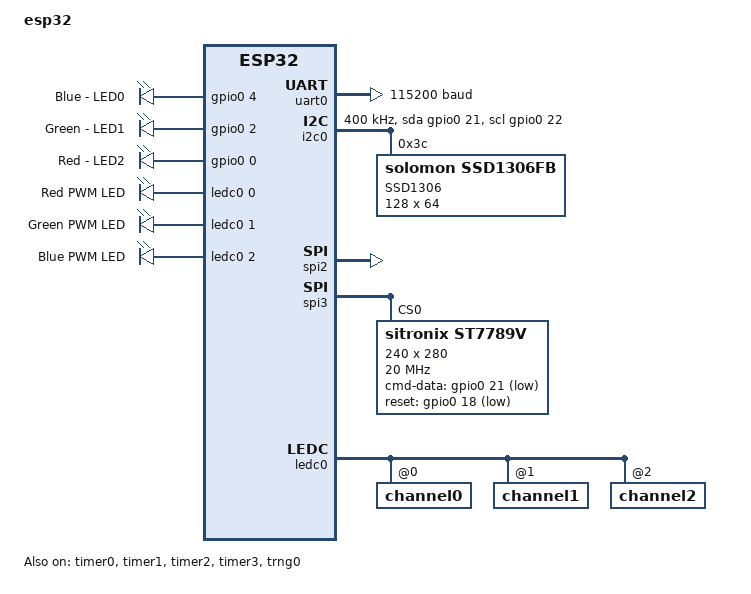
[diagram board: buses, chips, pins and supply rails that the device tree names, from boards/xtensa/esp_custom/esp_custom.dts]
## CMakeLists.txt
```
# SPDX-License-Identifier: Apache-2.0

cmake_minimum_required(VERSION 3.20.0)

set(BOARD_ROOT ${CMAKE_CURRENT_LIST_DIR})

find_package(Zephyr REQUIRED HINTS $ENV{ZEPHYR_BASE})
project(blinky)

target_sources(app PRIVATE src/main.c  )
```

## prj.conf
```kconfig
CONFIG_LV_Z_MEM_POOL_NUMBER_BLOCKS=8
CONFIG_MAIN_STACK_SIZE=10192

CONFIG_DISPLAY=y
CONFIG_DISPLAY_LOG_LEVEL_ERR=y

CONFIG_LOG=y

CONFIG_LVGL=y
CONFIG_LV_MEM_CUSTOM=y
CONFIG_LV_USE_LOG=y
CONFIG_LV_USE_LABEL=y
CONFIG_LV_USE_BTN=y
CONFIG_LV_USE_IMG=y
CONFIG_LV_FONT_MONTSERRAT_20=y
CONFIG_LV_COLOR_16_SWAP=y
```

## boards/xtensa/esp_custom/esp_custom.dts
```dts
/*
 * Copyright (c) 2021 Espressif Systems (Shanghai) Co., Ltd.
 *
 * SPDX-License-Identifier: Apache-2.0
 */
/dts-v1/;

#include <espressif/esp32.dtsi>
#include "esp_custom-pinctrl.dtsi"

/ {
	model = "esp32";
	compatible = "espressif,esp32";

	aliases {
		led0 = &blue_led;
		led1 = &green_led;
		led2 = &red_led;
		pwm-led0 = &pwm_led_red;
		pwm-led1 = &pwm_led_green;
		pwm-led2 = &pwm_led_blue;
		red-pwm-led = &pwm_led_red;
		green-pwm-led = &pwm_led_green;
		blue-pwm-led = &pwm_led_blue;
		uart-0 = &uart0;
		i2c-0 = &i2c0;
		watchdog0 = &wdt0;
	};

	chosen {
		zephyr,sram = &sram0;
		zephyr,console = &uart0;
		zephyr,shell-uart = &uart0;
		zephyr,flash = &flash0;
		zephyr,display = &st7789v;
		
	};

	leds {
		compatible = "gpio-leds";

		blue_led: led_0 {
			gpios =  <&gpio0 4 GPIO_ACTIVE_HIGH>;
			label = "Blue - LED0";
		};

		green_led: led_1 {
			gpios =  <&gpio0 2 GPIO_ACTIVE_HIGH>;
			label = "Green - LED1";
		};

		red_led: led_2 {
			gpios =  <&gpio0 0 GPIO_ACTIVE_HIGH>;
			label = "Red - LED2";
		};
	};
	pwmleds {
		compatible = "pwm-leds";
		pwm_led_red: pwm_led_0 {
			label = "Red PWM LED";
			pwms = <&ledc0 0 PWM_HZ(100) PWM_POLARITY_NORMAL>;
		};
		pwm_led_green: pwm_led_1 {
			label = "Green PWM LED";
			pwms = <&ledc0 1 PWM_HZ(100) PWM_POLARITY_NORMAL>;
		};
		pwm_led_blue: pwm_led_2 {
			label = "Blue PWM LED";
			pwms = <&ledc0 2 PWM_HZ(100) PWM_POLARITY_NORMAL>;
		};
	};
};

&cpu0 {
	clock-frequency = <ESP32_CLK_CPU_240M>;
};

&cpu1 {
	clock-frequency = <ESP32_CLK_CPU_240M>;
};

&uart0 {
	status = "okay";
	current-speed = <115200>;
	pinctrl-0 = <&uart0_default>;
	pinctrl-names = "default";
};

&gpio0 {
	status = "okay";
};

&gpio1 {
	status = "okay";
};

&i2c0 {
	status = "okay";
	clock-frequency = <I2C_BITRATE_FAST>;
	sda-gpios = <&gpio0 21 (GPIO_OPEN_DRAIN  )>;
	scl-gpios = <&gpio0 22 (GPIO_OPEN_DRAIN  )>;
	pinctrl-0 = <&i2c0_default>;
	pinctrl-names = "default";
	ssd1306: ssd1306@3c {
		compatible = "solomon,ssd1306fb";
		reg = < 0x3c >;
		label = "SSD1306";
		width = < 128 >;
		height = < 64 >;
		segment-offset = < 0x0 >;
		page-offset = < 0x0 >;
		display-offset = < 0x0 >;
		multiplex-ratio = < 0x3f >;
		segment-remap;
		com-invdir;
		prechargep = < 0x22 >;
	};	
};

&spi2 {
	#address-cells = <1>;
	#size-cells = <0>;
	status = "okay";
	pinctrl-0 = <&spim2_default>;
	pinctrl-names = "default";
};

&spi3 {
	#address-cells = <1>;
	#size-cells = <0>;
	status = "okay";
	pinctrl-0 = <&spim3_default>;
	pinctrl-names = "default";
	//cs-gpios = <&gpio0 16 GPIO_ACTIVE_LOW>;	/* D10 */
	st7789v: st7789v@0 {
		compatible = "sitronix,st7789v";
		spi-max-frequency = <20000000>;
		reg = <0>;
		cmd-data-gpios = <&gpio0 21 GPIO_ACTIVE_LOW>;
		reset-gpios = <&gpio0 18 GPIO_ACTIVE_LOW>;
		width = <240>;
		height = <280>;
		//rotation = <0>;
		x-offset = <0>;
		y-offset = <20>;
		vcom = <0x19>;
		gctrl = <0x35>;
		vrhs = <0x12>;
		vdvs = <0x20>;
		mdac = <0x00>;
		gamma = <0x01>;
		colmod = <0x05>;
		lcm = <0x2c>;
		porch-param = [0c 0c 00 33 33];
		cmd2en-param = [5a 69 02 01];
		pwctrl1-param = [a4 a1];
		pvgam-param = [D0 04 0D 11 13 2B 3F 54 4C 18 0D 0B 1F 23];
		nvgam-param = [D0 04 0C 11 13 2C 3F 44 51 2F 1F 1F 20 23];
		ram-param = [00 F0];
		rgb-param = [CD 08 14];
	};
};


&ledc0 {
	pinctrl-0 = <&ledc0_default>;
	pinctrl-names = "default";
	status = "okay";
	#address-cells = <1>;
	#size-cells = <0>;
	channel0@0 {
		reg = <0x0>;
		timer = <0>;
	};
	channel1@1 {
		reg = <0x1>;
		timer = <1>;
	};
	channel2@2 {
		reg = <0x2>;
		timer = <2>;
	};
};

&timer0 {
	status = "okay";
};

&timer1 {
	status = "okay";
};

&timer2 {
	status = "okay";
};

&timer3 {
	status = "okay";
};

&trng0 {
	status = "okay";
};

&flash0 {
	status = "okay";
	partitions {
		compatible = "fixed-partitions";
		#address-cells = <1>;
		#size-cells = <1>;

		/* Reserve 60kB for the bootloader */
		boot_partition: partition@1000 {
			label = "mcuboot";
			reg = <0x00001000 0x0000F000>;
			read-only;
		};

		/* Reserve 1024kB for the application in slot 0 */
		slot0_partition: partition@10000 {
			label = "image-0";
			reg = <0x00010000 0x00100000>;
		};

		/* Reserve 1024kB for the application in slot 1 */
		slot1_partition: partition@110000 {
			label = "image-1";
			reg = <0x00110000 0x00100000>;
		};

		/* Reserve 256kB for the scratch partition */
		scratch_partition: partition@210000 {
			   label = "image-scratch";
			   reg = <0x00210000 0x00040000>;
		};

		storage_partition: partition@250000 {
			label = "storage";
			reg = <0x00250000 0x00006000>;
		};
	};
};
```

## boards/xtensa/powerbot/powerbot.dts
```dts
/dts-v1/;

#include <espressif/esp32.dtsi>
#include "powerbot.dtsi"

/ {
	model = "esp32";
	compatible = "espressif,esp32";

	aliases {
		led0 = &blue_led;
		led1 = &green_led;
		led2 = &red_led;
		sw0 = &button0;
		lora0 = &sx1276;
	};

	chosen {
		zephyr,sram = &sram0;
		zephyr,console = &uart0;
		zephyr,shell-uart = &uart0;
		zephyr,flash = &flash0;
	};

	leds {
		compatible = "gpio-leds";

		blue_led: led_0 {
			gpios =  <&gpio0 5 GPIO_ACTIVE_LOW>;
			label = "Blue - LED0";
		};

		green_led: led_1 {
			gpios =  <&gpio0 17 GPIO_ACTIVE_LOW>;
			label = "Green - LED1";
		};

		red_led: led_2 {
			gpios =  <&gpio0 4 GPIO_ACTIVE_LOW>;
			label = "Red - LED2";
		};
	};

	buttons {
             compatible = "gpio-keys";
             button0: button_0 {
                     gpios = < &gpio0 0 GPIO_ACTIVE_LOW>;
                     label = "User button";
             };
             /* ... other buttons ... */
     };
};

&cpu0 {
	clock-frequency = <ESP32_CLK_CPU_240M>;
};

&cpu1 {
	clock-frequency = <ESP32_CLK_CPU_240M>;
};

&uart0 {
	status = "okay";
	current-speed = <115200>;
	pinctrl-0 = <&console_uart>;
	pinctrl-names = "default";
};

&uart1 {
	status = "okay";
	current-speed = <9600>;
	pinctrl-0 = <&rs485_uart>;
	pinctrl-names = "default";

	modbus0 {
		compatible = "zephyr,modbus-serial";
		status = "okay";
		label = "Modbus";
		de-gpios = <&gpio0 25 GPIO_ACTIVE_LOW>;
		re-gpios = <&gpio0 26 GPIO_ACTIVE_HIGH>;
	};
};

&gpio0 {
	status = "okay";
};

&gpio1 {
	status = "okay";
};

&spi2 {
	#address-cells = <1>;
	#size-cells = <0>;
	status = "okay";
	pinctrl-0 = <&sx1276_spi>;
	pinctrl-names = "default";

	sx1276: sx1276@0{
		compatible = "semtech,sx1276";
		label = "SX1276";
		spi-max-frequency = <25000000>;
		reg = <0>;
		reset-gpios = <&gpio0 23 GPIO_ACTIVE_LOW>;
		dio-gpios = <&gpio0 21 GPIO_ACTIVE_HIGH>;
		power-amplifier-output = "pa-boost";
	};
};


&flash0 {
	status = "okay";
	partitions {
		compatible = "fixed-partitions";
		#address-cells = <1>;
		#size-cells = <1>;

		/* Reserve 60kB for the bootloader */
		boot_partition: partition@1000 {
			label = "mcuboot";
			reg = <0x00001000 0x0000F000>;
			read-only;
		};

		/* Reserve 1024kB for the application in slot 0 */
		slot0_partition: partition@10000 {
			label = "image-0";
			reg = <0x00010000 0x00100000>;
		};

		/* Reserve 1024kB for the application in slot 1 */
		slot1_partition: partition@110000 {
			label = "image-1";
			reg = <0x00110000 0x00100000>;
		};

		/* Reserve 256kB for the scratch partition */
		scratch_partition: partition@210000 {
			   label = "image-scratch";
			   reg = <0x00210000 0x00040000>;
		};

		storage_partition: partition@250000 {
			label = "storage";
			reg = <0x00250000 0x00006000>;
		};
	};
};
```

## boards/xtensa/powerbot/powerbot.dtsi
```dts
/*
 * Copyright (c) 2022 Espressif Systems (Shanghai) Co., Ltd.
 *
 * SPDX-License-Identifier: Apache-2.0
 */

#include <zephyr/dt-bindings/pinctrl/esp-pinctrl-common.h>
#include <dt-bindings/pinctrl/esp32-pinctrl.h>
#include <zephyr/dt-bindings/pinctrl/esp32-gpio-sigmap.h>

&pinctrl {

	console_uart: uart0_default {
		group1 {
			pinmux = <UART0_TX_GPIO1>;
		};
		group2 {
			pinmux = <UART0_RX_GPIO3>;
			bias-pull-up;
		};
	};

	rs485_uart: uart1_default {
		group1 {
			pinmux = <UART1_TX_GPIO33>;
		};
		group2 {
			pinmux = <UART1_RX_GPIO27>;
			bias-pull-up;
		};
	};

	sx1276_spi: spim2_default {
		group1 {
			pinmux = <SPIM2_MISO_GPIO32>,
				 <SPIM2_SCLK_GPIO19>,
				 <SPIM2_CSEL_GPIO22>;
		};
		group2 {
			pinmux = <SPIM2_MOSI_GPIO18>;
			output-low;
		};
	};
};
```

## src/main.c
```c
/*
 * Copyright (c) 2018 Jan Van Winkel <jan.van_winkel@dxplore.eu>
 *
 * SPDX-License-Identifier: Apache-2.0
 */

#include <zephyr/device.h>
#include <zephyr/drivers/display.h>
#include <lvgl.h>
#include <stdio.h>
#include <string.h>
#include <zephyr/kernel.h>

#define LOG_LEVEL CONFIG_LOG_DEFAULT_LEVEL
#include <zephyr/logging/log.h>
LOG_MODULE_REGISTER(app);

void lv_example_style_11(void)
{
    /*A base style*/
    static lv_style_t style_base;
    lv_style_init(&style_base);
    lv_style_set_bg_color(&style_base, lv_palette_main(LV_PALETTE_GREEN));
    lv_style_set_border_color(&style_base, lv_palette_darken(LV_PALETTE_GREEN, 3));
    lv_style_set_border_width(&style_base, 2);
    lv_style_set_radius(&style_base, 10);
    lv_style_set_shadow_width(&style_base, 10);
    lv_style_set_shadow_ofs_y(&style_base, 5);
    lv_style_set_shadow_opa(&style_base, LV_OPA_50);
    lv_style_set_text_color(&style_base, lv_color_white());
    lv_style_set_width(&style_base, 100);
    lv_style_set_height(&style_base, LV_SIZE_CONTENT);

    /*Set only the properties that should be different*/
    static lv_style_t style_warning;
    lv_style_init(&style_warning);
    lv_style_set_bg_color(&style_warning, lv_palette_main(LV_PALETTE_RED));
    lv_style_set_border_color(&style_warning, lv_palette_darken(LV_PALETTE_RED, 3));
    lv_style_set_text_color(&style_warning, lv_palette_darken(LV_PALETTE_LIGHT_BLUE, 4));

    /*Create an object with the base style only*/
    lv_obj_t * obj_base = lv_obj_create(lv_scr_act());
    lv_obj_add_style(obj_base, &style_base, 0);
    lv_obj_align(obj_base, LV_ALIGN_LEFT_MID, 20, 0);

    lv_obj_t * label = lv_label_create(obj_base);
    lv_label_set_text(label, "Start");
    lv_obj_center(label);

    /*Create another object with the base style and earnings style too*/
    lv_obj_t * obj_warning = lv_obj_create(lv_scr_act());
    lv_obj_add_style(obj_warning, &style_base, 0);
    lv_obj_add_style(obj_warning, &style_warning, 0);
    lv_obj_align(obj_warning, LV_ALIGN_RIGHT_MID, -20, 0);

    label = lv_label_create(obj_warning);
    lv_label_set_text(label, "Stop");
    lv_obj_center(label);
}

void lv_example_style_1(void)
{
    static lv_style_t style;
    lv_style_init(&style);
    lv_style_set_radius(&style, 5);

    /*Make a gradient*/
    lv_style_set_width(&style, 150);
    lv_style_set_height(&style, LV_SIZE_CONTENT);

    lv_style_set_pad_ver(&style, 20);
    lv_style_set_pad_left(&style, 5);

    lv_style_set_x(&style, lv_pct(50));
    lv_style_set_y(&style, 80);

    /*Create an object with the new style*/
    lv_obj_t * obj = lv_obj_create(lv_scr_act());
    lv_obj_add_style(obj, &style, 0);

    lv_obj_t * label = lv_label_create(obj);
    lv_label_set_text(label, "Hello");
}


void lv_example_style_2(void)
{
    static lv_style_t style;
    lv_style_init(&style);
    lv_style_set_radius(&style, 5);

    /*Make a gradient*/
    lv_style_set_bg_opa(&style, LV_OPA_COVER);
    static lv_grad_dsc_t grad;
    grad.dir = LV_GRAD_DIR_VER;
    grad.stops_count = 2;
    grad.stops[0].color = lv_palette_lighten(LV_PALETTE_GREY, 1);
    grad.stops[1].color = lv_palette_main(LV_PALETTE_BLUE);

    /*Shift the gradient to the bottom*/
    grad.stops[0].frac  = 128;
    grad.stops[1].frac  = 192;

    lv_style_set_bg_grad(&style, &grad);

    /*Create an object with the new style*/
    lv_obj_t * obj = lv_obj_create(lv_scr_act());
    lv_obj_add_style(obj, &style, 0);
    lv_obj_center(obj);
}

void main(void)
{
	uint32_t count = 0U;
	char count_str[11] = {0};
	const struct device *display_dev;
	lv_obj_t *hello_world_label;
	lv_obj_t *count_label;
	static lv_style_t style;

	display_dev = DEVICE_DT_GET(DT_CHOSEN(zephyr_display));
	if (!device_is_ready(display_dev)) {
		LOG_ERR("Device not ready, aborting test");
		return;
	}

	if (IS_ENABLED(CONFIG_LV_Z_POINTER_KSCAN)) {
		lv_obj_t *hello_world_button;

		hello_world_button = lv_btn_create(lv_scr_act());
		lv_obj_align(hello_world_button, LV_ALIGN_CENTER, 0, 0);
		hello_world_label = lv_label_create(hello_world_button);
	} else {
		hello_world_label = lv_label_create(lv_scr_act());
	}

	lv_label_set_text(hello_world_label, "Hello world!");
	lv_obj_align(hello_world_label, LV_ALIGN_CENTER, 0, 0);


    lv_style_init(&style);
	lv_style_set_bg_color(&style, lv_palette_main(LV_PALETTE_RED));
	lv_style_set_text_color(&style, lv_palette_main(LV_PALETTE_BLUE));
	lv_style_set_text_decor(&style, LV_TEXT_DECOR_UNDERLINE);



	count_label = lv_label_create(lv_scr_act());
	lv_obj_add_style(count_label, &style, 0);
	lv_obj_align(count_label, LV_ALIGN_BOTTOM_MID, 0, -10);

	lv_example_style_11();
	//lv_example_style_2();

	lv_task_handler();
	display_blanking_off(display_dev);

	while (1) {
		if ((count % 100) == 0U) {
			sprintf(count_str, "%d", count/100U);
			lv_label_set_text(count_label, count_str);
		}
		lv_task_handler();
		k_sleep(K_MSEC(10));
		++count;
	}
}
```
